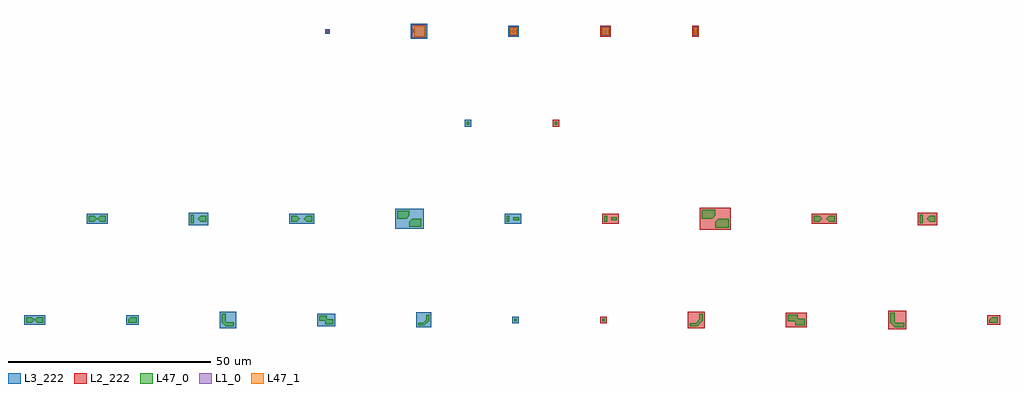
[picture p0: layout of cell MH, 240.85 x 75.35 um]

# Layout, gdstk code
from math import pi, radians
import gdstk
lib = gdstk.Library(unit=1e-6, precision=1e-09)
def R(c, l, rs):  # rectangles x0, y0, x1, y1
    for r in rs: c.add(gdstk.rectangle(r[:2], r[2:], *l))
def P(c, l, *ps):  # polygons
    for p in ps: c.add(gdstk.Polygon(p, *l))
L1_0 = (1, 0)
L2_222 = (2, 222)
L3_222 = (3, 222)
L47_0 = (47, 0)
L47_1 = (47, 1)

compass_e7e8ed5b = lib.new_cell('compass_e7e8ed5b')
R(compass_e7e8ed5b, L47_0, [(-0.35,-0.35,0.35,0.35)])

rectangle_e7e8ed5b = lib.new_cell('rectangle_e7e8ed5b')
rectangle_e7e8ed5b.add(gdstk.Reference(compass_e7e8ed5b, (0.35,0.35)))

width_basic_width0_7_lay = lib.new_cell('width_basic_width0.7_layer_(47, 0)')
width_basic_width0_7_lay.add(gdstk.Reference(rectangle_e7e8ed5b, (0,0)))

compass_b2efa8bb = lib.new_cell('compass_b2efa8bb')
R(compass_b2efa8bb, L2_222, [(-0.85,-0.85,0.85,0.85)])

rectangle_b2efa8bb = lib.new_cell('rectangle_b2efa8bb')
rectangle_b2efa8bb.add(gdstk.Reference(compass_b2efa8bb, (0.85,0.85)))

pass_fail_mk_78ab3b2c = lib.new_cell('pass_fail_mk_78ab3b2c')
pass_fail_mk_78ab3b2c.add(gdstk.Reference(rectangle_b2efa8bb, (-0.5,-0.5)))
pass_fail_mk_78ab3b2c.add(gdstk.Label('MH.W.1', (-0.25,-0.25), layer=11, texttype=222))

compass_66cd6138 = lib.new_cell('compass_66cd6138')
R(compass_66cd6138, L47_0, [(-0.345,-0.345,0.345,0.345)])

rectangle_66cd6138 = lib.new_cell('rectangle_66cd6138')
rectangle_66cd6138.add(gdstk.Reference(compass_66cd6138, (0.345,0.345)))

width_basic_width0_69_la = lib.new_cell('width_basic_width0.69_layer_(47, 0)')
width_basic_width0_69_la.add(gdstk.Reference(rectangle_66cd6138, (0,0)))

compass_bd24d7c0 = lib.new_cell('compass_bd24d7c0')
R(compass_bd24d7c0, L3_222, [(-0.845,-0.845,0.845,0.845)])

rectangle_bd24d7c0 = lib.new_cell('rectangle_bd24d7c0')
rectangle_bd24d7c0.add(gdstk.Reference(compass_bd24d7c0, (0.845,0.845)))

pass_fail_mk_fe1c7ca9 = lib.new_cell('pass_fail_mk_fe1c7ca9')
pass_fail_mk_fe1c7ca9.add(gdstk.Reference(rectangle_bd24d7c0, (-0.5,-0.5)))
pass_fail_mk_fe1c7ca9.add(gdstk.Label('MH.W.1', (-0.25,-0.25), layer=11, texttype=222))

extrude_4c802b8c = lib.new_cell('extrude_4c802b8c')
P(extrude_4c802b8c, L47_0, [(0,-0.4),(1.766,-0.4),(3.131,0.966),(3.131,2.731),(2.331,2.731),(2.331,1.297),(1.434,0.4),(0,0.4)])

width_45deg_width0_79999 = lib.new_cell('width_45deg_width0.7999999999999999_layer_(47, 0)')
width_45deg_width0_79999.add(gdstk.Reference(extrude_4c802b8c, (0,0)))

compass_1ed4120b = lib.new_cell('compass_1ed4120b')
R(compass_1ed4120b, L2_222, [(-2.066,-2.066,2.066,2.066)])

rectangle_1ed4120b = lib.new_cell('rectangle_1ed4120b')
rectangle_1ed4120b.add(gdstk.Reference(compass_1ed4120b, (2.066,2.066)))

pass_fail_mk_1852c275 = lib.new_cell('pass_fail_mk_1852c275')
pass_fail_mk_1852c275.add(gdstk.Reference(rectangle_1ed4120b, (-0.5,-0.9)))
pass_fail_mk_1852c275.add(gdstk.Label('MH.W.1', (-0.25,-0.65), layer=11, texttype=222))

extrude_66ef6cff = lib.new_cell('extrude_66ef6cff')
P(extrude_66ef6cff, L47_0, [(0,-0.345),(1.523,-0.345),(2.701,0.833),(2.701,2.356),(2.011,2.356),(2.011,1.119),(1.237,0.345),(0,0.345)])

width_45deg_width0_69_la = lib.new_cell('width_45deg_width0.69_layer_(47, 0)')
width_45deg_width0_69_la.add(gdstk.Reference(extrude_66ef6cff, (0,0)))

compass_3f52df3e = lib.new_cell('compass_3f52df3e')
R(compass_3f52df3e, L3_222, [(-1.85,-1.85,1.85,1.85)])

rectangle_3f52df3e = lib.new_cell('rectangle_3f52df3e')
rectangle_3f52df3e.add(gdstk.Reference(compass_3f52df3e, (1.85,1.85)))

pass_fail_mk_641ccce3 = lib.new_cell('pass_fail_mk_641ccce3')
pass_fail_mk_641ccce3.add(gdstk.Reference(rectangle_3f52df3e, (-0.5,-0.845)))
pass_fail_mk_641ccce3.add(gdstk.Label('MH.W.1', (-0.25,-0.595), layer=11, texttype=222))

boolean_34b1b25e = lib.new_cell('boolean_34b1b25e')
P(boolean_34b1b25e, L47_0, [(2.4,1.6),(0.566,1.6),(0.566,2.634),(-1.834,2.634),(-1.834,1.034),(0,1.034),(0,0),(2.4,0)])

width_cor2cor_width0_799 = lib.new_cell('width_cor2cor_width0.7999999999999999_layer_(47, 0)')
width_cor2cor_width0_799.add(gdstk.Reference(boolean_34b1b25e, (0,0)))

compass_9fc2ad70 = lib.new_cell('compass_9fc2ad70')
R(compass_9fc2ad70, L2_222, [(-2.617,-1.817,2.617,1.817)])

rectangle_9fc2ad70 = lib.new_cell('rectangle_9fc2ad70')
rectangle_9fc2ad70.add(gdstk.Reference(compass_9fc2ad70, (2.617,1.817)))

pass_fail_mk_bcb44846 = lib.new_cell('pass_fail_mk_bcb44846')
pass_fail_mk_bcb44846.add(gdstk.Reference(rectangle_9fc2ad70, (-2.334,-0.5)))
pass_fail_mk_bcb44846.add(gdstk.Label('MH.W.1', (-2.084,-0.25), layer=11, texttype=222))

boolean_0be09825 = lib.new_cell('boolean_0be09825')
P(boolean_0be09825, L47_0, [(1.95,1.3),(0.46,1.3),(0.46,2.14),(-1.49,2.14),(-1.49,0.84),(0,0.84),(0,0),(1.95,0)])

width_cor2cor_width0_649 = lib.new_cell('width_cor2cor_width0.6499999999999999_layer_(47, 0)')
width_cor2cor_width0_649.add(gdstk.Reference(boolean_0be09825, (0,0)))

compass_126cb765 = lib.new_cell('compass_126cb765')
R(compass_126cb765, L3_222, [(-2.22,-1.57,2.22,1.57)])

rectangle_126cb765 = lib.new_cell('rectangle_126cb765')
rectangle_126cb765.add(gdstk.Reference(compass_126cb765, (2.22,1.57)))

pass_fail_mk_10fbac7f = lib.new_cell('pass_fail_mk_10fbac7f')
pass_fail_mk_10fbac7f.add(gdstk.Reference(rectangle_126cb765, (-1.99,-0.5)))
pass_fail_mk_10fbac7f.add(gdstk.Label('MH.W.1', (-1.74,-0.25), layer=11, texttype=222))

boolean_d16e7d30 = lib.new_cell('boolean_d16e7d30')
P(boolean_d16e7d30, L47_0, [(-1.134,2.4),(-1.134,-0.006),(-0.006,-1.134),(0,-1.134),(0,-1.134),(2.4,-1.134),(2.4,0),(0,0),(0,2.4)])

width_cor_45deg_width0_7 = lib.new_cell('width_cor_45deg_width0.7999999999999999_layer_(47, 0)')
width_cor_45deg_width0_7.add(gdstk.Reference(boolean_d16e7d30, (0,0)))

compass_bea97816 = lib.new_cell('compass_bea97816')
R(compass_bea97816, L2_222, [(-2.267,-2.267,2.267,2.267)])

rectangle_bea97816 = lib.new_cell('rectangle_bea97816')
rectangle_bea97816.add(gdstk.Reference(compass_bea97816, (2.267,2.267)))

pass_fail_mk_69f7ed98 = lib.new_cell('pass_fail_mk_69f7ed98')
pass_fail_mk_69f7ed98.add(gdstk.Reference(rectangle_bea97816, (-1.634,-1.634)))
pass_fail_mk_69f7ed98.add(gdstk.Label('MH.W.1', (-1.384,-1.384), layer=11, texttype=222))

boolean_ff7a2a21 = lib.new_cell('boolean_ff7a2a21')
P(boolean_ff7a2a21, L47_0, [(-0.978,2.07),(-0.978,-0.005),(-0.005,-0.978),(0,-0.978),(0,-0.978),(2.07,-0.978),(2.07,0),(0,0),(0,2.07)])

width_cor_45deg_width0_6 = lib.new_cell('width_cor_45deg_width0.69_layer_(47, 0)')
width_cor_45deg_width0_6.add(gdstk.Reference(boolean_ff7a2a21, (0,0)))

compass_9e5b9a49 = lib.new_cell('compass_9e5b9a49')
R(compass_9e5b9a49, L3_222, [(-2.024,-2.024,2.024,2.024)])

rectangle_9e5b9a49 = lib.new_cell('rectangle_9e5b9a49')
rectangle_9e5b9a49.add(gdstk.Reference(compass_9e5b9a49, (2.024,2.024)))

pass_fail_mk_2f2a5389 = lib.new_cell('pass_fail_mk_2f2a5389')
pass_fail_mk_2f2a5389.add(gdstk.Reference(rectangle_9e5b9a49, (-1.478,-1.478)))
pass_fail_mk_2f2a5389.add(gdstk.Label('MH.W.1', (-1.228,-1.228), layer=11, texttype=222))

boolean_e318aad0 = lib.new_cell('boolean_e318aad0')
P(boolean_e318aad0, L47_0, [(2.1,1.4),(0.7,1.4),(0,0.7),(0,0),(2.1,0)])

c_width_cor_45deg_width0_7 = lib.new_cell('width_cor_45deg_width0.7_layer_(47, 0)')
c_width_cor_45deg_width0_7.add(gdstk.Reference(boolean_e318aad0, (0,0)))

compass_7dffb85c = lib.new_cell('compass_7dffb85c')
R(compass_7dffb85c, L2_222, [(-1.55,-1.2,1.55,1.2)])

rectangle_7dffb85c = lib.new_cell('rectangle_7dffb85c')
rectangle_7dffb85c.add(gdstk.Reference(compass_7dffb85c, (1.55,1.2)))

pass_fail_mk_f526e9c0 = lib.new_cell('pass_fail_mk_f526e9c0')
pass_fail_mk_f526e9c0.add(gdstk.Reference(rectangle_7dffb85c, (-0.5,-0.5)))
pass_fail_mk_f526e9c0.add(gdstk.Label('MH.W.1', (-0.25,-0.25), layer=11, texttype=222))

boolean_3da589a0 = lib.new_cell('boolean_3da589a0')
P(boolean_3da589a0, L47_0, [(2.07,1.38),(0.69,1.38),(0,0.69),(0,0),(2.07,0)])

c_width_cor_45deg_width0_6 = lib.new_cell('width_cor_45deg_width0.69_layer_(47, 0)$1')
c_width_cor_45deg_width0_6.add(gdstk.Reference(boolean_3da589a0, (0,0)))

compass_295faa97 = lib.new_cell('compass_295faa97')
R(compass_295faa97, L3_222, [(-1.535,-1.19,1.535,1.19)])

rectangle_295faa97 = lib.new_cell('rectangle_295faa97')
rectangle_295faa97.add(gdstk.Reference(compass_295faa97, (1.535,1.19)))

pass_fail_mk_c0e38e36 = lib.new_cell('pass_fail_mk_c0e38e36')
pass_fail_mk_c0e38e36.add(gdstk.Reference(rectangle_295faa97, (-0.5,-0.5)))
pass_fail_mk_c0e38e36.add(gdstk.Label('MH.W.1', (-0.25,-0.25), layer=11, texttype=222))

boolean_dfda7479 = lib.new_cell('boolean_dfda7479')
P(boolean_dfda7479, L47_0, [(0,0),(1.4,0),(1.4,1.4),(0,1.4),(-0.7,0.7)])

width_singular_width0_7_ = lib.new_cell('width_singular_width0.7_layer_(47, 0)')
width_singular_width0_7_.add(gdstk.Reference(boolean_dfda7479, (0,0)))
width_singular_width0_7_.add(gdstk.Reference(boolean_dfda7479, (-1.4,1.4), rotation=pi))

compass_ae880962 = lib.new_cell('compass_ae880962')
R(compass_ae880962, L3_222, [(-2.6,-1.2,2.6,1.2)])

rectangle_ae880962 = lib.new_cell('rectangle_ae880962')
rectangle_ae880962.add(gdstk.Reference(compass_ae880962, (2.6,1.2)))

pass_fail_mk_40ec0625 = lib.new_cell('pass_fail_mk_40ec0625')
pass_fail_mk_40ec0625.add(gdstk.Reference(rectangle_ae880962, (-3.3,-0.5)))
pass_fail_mk_40ec0625.add(gdstk.Label('MH.W.1', (-3.05,-0.25), layer=11, texttype=222))

width_patterns_width0_7_ = lib.new_cell('width_patterns_width0.7_layer(47, 0)')
width_patterns_width0_7_.add(gdstk.Reference(width_basic_width0_7_lay, (0,0)))
width_patterns_width0_7_.add(gdstk.Reference(pass_fail_mk_78ab3b2c, (0,0)))
width_patterns_width0_7_.add(gdstk.Reference(width_basic_width0_69_la, (-21.69,0.005)))
width_patterns_width0_7_.add(gdstk.Reference(pass_fail_mk_fe1c7ca9, (-21.69,0.005)))
width_patterns_width0_7_.add(gdstk.Reference(width_45deg_width0_79999, (21.7,-0.816)))
width_patterns_width0_7_.add(gdstk.Reference(pass_fail_mk_1852c275, (21.7,-0.816)))
width_patterns_width0_7_.add(gdstk.Reference(width_45deg_width0_69_la, (-45.39,-0.655)))
width_patterns_width0_7_.add(gdstk.Reference(pass_fail_mk_641ccce3, (-45.39,-0.655)))
width_patterns_width0_7_.add(gdstk.Reference(width_cor2cor_width0_799, (47.666,-0.967)))
width_patterns_width0_7_.add(gdstk.Reference(pass_fail_mk_bcb44846, (47.666,-0.967)))
width_patterns_width0_7_.add(gdstk.Reference(width_cor2cor_width0_649, (-68.34,-0.72)))
width_patterns_width0_7_.add(gdstk.Reference(pass_fail_mk_10fbac7f, (-68.34,-0.72)))
width_patterns_width0_7_.add(gdstk.Reference(width_cor_45deg_width0_7, (72.2,-0.284)))
width_patterns_width0_7_.add(gdstk.Reference(pass_fail_mk_69f7ed98, (72.2,-0.284)))
width_patterns_width0_7_.add(gdstk.Reference(width_cor_45deg_width0_6, (-92.9,-0.196)))
width_patterns_width0_7_.add(gdstk.Reference(pass_fail_mk_2f2a5389, (-92.9,-0.196)))
width_patterns_width0_7_.add(gdstk.Reference(c_width_cor_45deg_width0_7, (95.6,-0.351)))
width_patterns_width0_7_.add(gdstk.Reference(pass_fail_mk_f526e9c0, (95.6,-0.351)))
width_patterns_width0_7_.add(gdstk.Reference(c_width_cor_45deg_width0_6, (-116.948,-0.34)))
width_patterns_width0_7_.add(gdstk.Reference(pass_fail_mk_c0e38e36, (-116.948,-0.34)))
width_patterns_width0_7_.add(gdstk.Reference(width_singular_width0_7_, (-139.348,-0.35)))
width_patterns_width0_7_.add(gdstk.Reference(pass_fail_mk_40ec0625, (-139.348,-0.35)))

compass_6f4c7a30 = lib.new_cell('compass_6f4c7a30')
R(compass_6f4c7a30, L47_0, [(-0.35,-0.7,0.35,0.7)])

rectangle_6f4c7a30 = lib.new_cell('rectangle_6f4c7a30')
rectangle_6f4c7a30.add(gdstk.Reference(compass_6f4c7a30, (0.35,0.7)))

compass_fc141fd9 = lib.new_cell('compass_fc141fd9')
R(compass_fc141fd9, L47_0, [(-0.7,-0.35,0.7,0.35)])

rectangle_fc141fd9 = lib.new_cell('rectangle_fc141fd9')
rectangle_fc141fd9.add(gdstk.Reference(compass_fc141fd9, (0.7,0.35)))

space_basic_spacing1_0_l = lib.new_cell('space_basic_spacing1.0_layer1(47, 0)_layer2(47, 0)')
space_basic_spacing1_0_l.add(gdstk.Reference(rectangle_6f4c7a30, (-1,1.05), rotation=pi))
space_basic_spacing1_0_l.add(gdstk.Reference(rectangle_fc141fd9, (0,0)))

compass_7b9b11c6 = lib.new_cell('compass_7b9b11c6')
R(compass_7b9b11c6, L2_222, [(-2.05,-1.2,2.05,1.2)])

rectangle_7b9b11c6 = lib.new_cell('rectangle_7b9b11c6')
rectangle_7b9b11c6.add(gdstk.Reference(compass_7b9b11c6, (2.05,1.2)))

pass_fail_mk_7275f4ca = lib.new_cell('pass_fail_mk_7275f4ca')
pass_fail_mk_7275f4ca.add(gdstk.Reference(rectangle_7b9b11c6, (-2.2,-0.85)))
pass_fail_mk_7275f4ca.add(gdstk.Label('MH.S.1', (-1.95,-0.6), layer=11, texttype=222))

space_basic_spacing0_99_ = lib.new_cell('space_basic_spacing0.99_layer1(47, 0)_layer2(47, 0)')
space_basic_spacing0_99_.add(gdstk.Reference(rectangle_6f4c7a30, (-0.99,1.05), rotation=pi))
space_basic_spacing0_99_.add(gdstk.Reference(rectangle_fc141fd9, (0,0)))

compass_e147ee73 = lib.new_cell('compass_e147ee73')
R(compass_e147ee73, L3_222, [(-2.045,-1.2,2.045,1.2)])

rectangle_e147ee73 = lib.new_cell('rectangle_e147ee73')
rectangle_e147ee73.add(gdstk.Reference(compass_e147ee73, (2.045,1.2)))

pass_fail_mk_7f93100f = lib.new_cell('pass_fail_mk_7f93100f')
pass_fail_mk_7f93100f.add(gdstk.Reference(rectangle_e147ee73, (-2.19,-0.85)))
pass_fail_mk_7f93100f.add(gdstk.Label('MH.S.1', (-1.94,-0.6), layer=11, texttype=222))

boolean_bea0f6fe = lib.new_cell('boolean_bea0f6fe')
P(boolean_bea0f6fe, L47_0, [(3.3,2.2),(0.78,2.2),(0,1.42),(0,0),(3.3,0)])

space_45deg_spacing1_1_l = lib.new_cell('space_45deg_spacing1.1_layer1(47, 0)_layer2(47, 0)')
space_45deg_spacing1_1_l.add(gdstk.Reference(boolean_bea0f6fe, (0,0)))
space_45deg_spacing1_1_l.add(gdstk.Reference(boolean_bea0f6fe, (0,4.4), rotation=pi))

compass_da7978cf = lib.new_cell('compass_da7978cf')
R(compass_da7978cf, L2_222, [(-3.8,-2.7,3.8,2.7)])

rectangle_da7978cf = lib.new_cell('rectangle_da7978cf')
rectangle_da7978cf.add(gdstk.Reference(compass_da7978cf, (3.8,2.7)))

pass_fail_mk_5a705a40 = lib.new_cell('pass_fail_mk_5a705a40')
pass_fail_mk_5a705a40.add(gdstk.Reference(rectangle_da7978cf, (-3.8,-0.5)))
pass_fail_mk_5a705a40.add(gdstk.Label('MH.S.1', (-3.55,-0.25), layer=11, texttype=222))

boolean_90c38d66 = lib.new_cell('boolean_90c38d66')
P(boolean_90c38d66, L47_0, [(2.97,1.98),(0.702,1.98),(0,1.278),(0,0),(2.97,0)])

space_45deg_spacing0_99_ = lib.new_cell('space_45deg_spacing0.99_layer1(47, 0)_layer2(47, 0)')
space_45deg_spacing0_99_.add(gdstk.Reference(boolean_90c38d66, (0,0)))
space_45deg_spacing0_99_.add(gdstk.Reference(boolean_90c38d66, (0,3.96), rotation=pi))

compass_10041c26 = lib.new_cell('compass_10041c26')
R(compass_10041c26, L3_222, [(-3.47,-2.48,3.47,2.48)])

rectangle_10041c26 = lib.new_cell('rectangle_10041c26')
rectangle_10041c26.add(gdstk.Reference(compass_10041c26, (3.47,2.48)))

pass_fail_mk_fa8249b7 = lib.new_cell('pass_fail_mk_fa8249b7')
pass_fail_mk_fa8249b7.add(gdstk.Reference(rectangle_10041c26, (-3.47,-0.5)))
pass_fail_mk_fa8249b7.add(gdstk.Label('MH.S.1', (-3.22,-0.25), layer=11, texttype=222))

boolean_c798fc84 = lib.new_cell('boolean_c798fc84')
P(boolean_c798fc84, L47_0, [(1.4,1.4),(0,1.4),(-0.7,0.7),(0,0),(1.4,0)])

space_cor2cor_spacing1_0 = lib.new_cell('space_cor2cor_spacing1.0_layer1(47, 0)_layer2(47, 0)')
space_cor2cor_spacing1_0.add(gdstk.Reference(boolean_dfda7479, (0,0)))
space_cor2cor_spacing1_0.add(gdstk.Reference(boolean_c798fc84, (-2.4,1.4), rotation=pi))

compass_69904f04 = lib.new_cell('compass_69904f04')
R(compass_69904f04, L2_222, [(-3.1,-1.2,3.1,1.2)])

rectangle_69904f04 = lib.new_cell('rectangle_69904f04')
rectangle_69904f04.add(gdstk.Reference(compass_69904f04, (3.1,1.2)))

pass_fail_mk_7cd628bd = lib.new_cell('pass_fail_mk_7cd628bd')
pass_fail_mk_7cd628bd.add(gdstk.Reference(rectangle_69904f04, (-4.3,-0.5)))
pass_fail_mk_7cd628bd.add(gdstk.Label('MH.S.1', (-4.05,-0.25), layer=11, texttype=222))

space_cor2cor_spacing0_9 = lib.new_cell('space_cor2cor_spacing0.99_layer1(47, 0)_layer2(47, 0)')
space_cor2cor_spacing0_9.add(gdstk.Reference(boolean_dfda7479, (0,0)))
space_cor2cor_spacing0_9.add(gdstk.Reference(boolean_c798fc84, (-2.39,1.4), rotation=pi))

compass_cdb13e82 = lib.new_cell('compass_cdb13e82')
R(compass_cdb13e82, L3_222, [(-3.095,-1.2,3.095,1.2)])

rectangle_cdb13e82 = lib.new_cell('rectangle_cdb13e82')
rectangle_cdb13e82.add(gdstk.Reference(compass_cdb13e82, (3.095,1.2)))

pass_fail_mk_efef2220 = lib.new_cell('pass_fail_mk_efef2220')
pass_fail_mk_efef2220.add(gdstk.Reference(rectangle_cdb13e82, (-4.29,-0.5)))
pass_fail_mk_efef2220.add(gdstk.Label('MH.S.1', (-4.04,-0.25), layer=11, texttype=222))

compass_dde51342 = lib.new_cell('compass_dde51342')
R(compass_dde51342, L47_0, [(-0.35,-1.05,0.35,1.05)])

rectangle_dde51342 = lib.new_cell('rectangle_dde51342')
rectangle_dde51342.add(gdstk.Reference(compass_dde51342, (0.35,1.05)))

space_cor2edge_spacing1_ = lib.new_cell('space_cor2edge_spacing1.0_layer1(47, 0)_layer2(47, 0)')
space_cor2edge_spacing1_.add(gdstk.Reference(rectangle_dde51342, (-2.4,-0.35)))
space_cor2edge_spacing1_.add(gdstk.Reference(boolean_dfda7479, (0,0)))

compass_06d5eadc = lib.new_cell('compass_06d5eadc')
R(compass_06d5eadc, L2_222, [(-2.4,-1.55,2.4,1.55)])

rectangle_06d5eadc = lib.new_cell('rectangle_06d5eadc')
rectangle_06d5eadc.add(gdstk.Reference(compass_06d5eadc, (2.4,1.55)))

pass_fail_mk_5e524f88 = lib.new_cell('pass_fail_mk_5e524f88')
pass_fail_mk_5e524f88.add(gdstk.Reference(rectangle_06d5eadc, (-2.9,-0.85)))
pass_fail_mk_5e524f88.add(gdstk.Label('MH.S.1', (-2.65,-0.6), layer=11, texttype=222))

space_cor2edge_spacing0_ = lib.new_cell('space_cor2edge_spacing0.99_layer1(47, 0)_layer2(47, 0)')
space_cor2edge_spacing0_.add(gdstk.Reference(rectangle_dde51342, (-2.39,-0.35)))
space_cor2edge_spacing0_.add(gdstk.Reference(boolean_dfda7479, (0,0)))

compass_5de46879 = lib.new_cell('compass_5de46879')
R(compass_5de46879, L3_222, [(-2.395,-1.55,2.395,1.55)])

rectangle_5de46879 = lib.new_cell('rectangle_5de46879')
rectangle_5de46879.add(gdstk.Reference(compass_5de46879, (2.395,1.55)))

pass_fail_mk_46129013 = lib.new_cell('pass_fail_mk_46129013')
pass_fail_mk_46129013.add(gdstk.Reference(rectangle_5de46879, (-2.89,-0.85)))
pass_fail_mk_46129013.add(gdstk.Label('MH.S.1', (-2.64,-0.6), layer=11, texttype=222))

space_singular_layer1_47 = lib.new_cell('space_singular_layer1(47, 0)_layer2(47, 0)')
space_singular_layer1_47.add(gdstk.Reference(boolean_dfda7479, (0,0)))
space_singular_layer1_47.add(gdstk.Reference(boolean_dfda7479, (-1.4,1.4), rotation=pi))

pass_fail_mk_0b4c0c5c = lib.new_cell('pass_fail_mk_0b4c0c5c')
pass_fail_mk_0b4c0c5c.add(gdstk.Reference(rectangle_ae880962, (-3.3,-0.5)))
pass_fail_mk_0b4c0c5c.add(gdstk.Label('MH.S.1', (-3.05,-0.25), layer=11, texttype=222))

space_patterns_width0_7_ = lib.new_cell('space_patterns_width0.7_layer1(47, 0)_layer2(47, 0)')
space_patterns_width0_7_.add(gdstk.Reference(space_basic_spacing1_0_l, (0,0)))
space_patterns_width0_7_.add(gdstk.Reference(pass_fail_mk_7275f4ca, (0,0)))
space_patterns_width0_7_.add(gdstk.Reference(space_basic_spacing0_99_, (-24.1,0)))
space_patterns_width0_7_.add(gdstk.Reference(pass_fail_mk_7f93100f, (-24.1,0)))
space_patterns_width0_7_.add(gdstk.Reference(space_45deg_spacing1_1_l, (25.7,-1.85)))
space_patterns_width0_7_.add(gdstk.Reference(pass_fail_mk_5a705a40, (25.7,-1.85)))
space_patterns_width0_7_.add(gdstk.Reference(space_45deg_spacing0_99_, (-49.76,-1.63)))
space_patterns_width0_7_.add(gdstk.Reference(pass_fail_mk_fa8249b7, (-49.76,-1.63)))
space_patterns_width0_7_.add(gdstk.Reference(space_cor2cor_spacing1_0, (53.8,-0.35)))
space_patterns_width0_7_.add(gdstk.Reference(pass_fail_mk_7cd628bd, (53.8,-0.35)))
space_patterns_width0_7_.add(gdstk.Reference(space_cor2cor_spacing0_9, (-75.13,-0.35)))
space_patterns_width0_7_.add(gdstk.Reference(pass_fail_mk_efef2220, (-75.13,-0.35)))
space_patterns_width0_7_.add(gdstk.Reference(space_cor2edge_spacing1_, (78.6,-0.35)))
space_patterns_width0_7_.add(gdstk.Reference(pass_fail_mk_5e524f88, (78.6,-0.35)))
space_patterns_width0_7_.add(gdstk.Reference(space_cor2edge_spacing0_, (-101.32,-0.35)))
space_patterns_width0_7_.add(gdstk.Reference(pass_fail_mk_46129013, (-101.32,-0.35)))
space_patterns_width0_7_.add(gdstk.Reference(space_singular_layer1_47, (-126.11,-0.35)))
space_patterns_width0_7_.add(gdstk.Reference(pass_fail_mk_0b4c0c5c, (-126.11,-0.35)))

compass_bf1a6804 = lib.new_cell('compass_bf1a6804')
R(compass_bf1a6804, L47_0, [(-0.357,-0.357,0.357,0.357)])

rectangle_bf1a6804 = lib.new_cell('rectangle_bf1a6804')
rectangle_bf1a6804.add(gdstk.Reference(compass_bf1a6804, (0.357,0.357)))

area_basic_area0_51_laye = lib.new_cell('area_basic_area0.51_layer(47, 0)')
area_basic_area0_51_laye.add(gdstk.Reference(rectangle_bf1a6804, (0,0)))

compass_46618510 = lib.new_cell('compass_46618510')
R(compass_46618510, L2_222, [(-0.857,-0.857,0.857,0.857)])

rectangle_46618510 = lib.new_cell('rectangle_46618510')
rectangle_46618510.add(gdstk.Reference(compass_46618510, (0.857,0.857)))

pass_fail_mk_2b3323b5 = lib.new_cell('pass_fail_mk_2b3323b5')
pass_fail_mk_2b3323b5.add(gdstk.Reference(rectangle_46618510, (-0.5,-0.5)))
pass_fail_mk_2b3323b5.add(gdstk.Label('MH.A.1', (-0.25,-0.25), layer=11, texttype=222))

compass_435e12d5 = lib.new_cell('compass_435e12d5')
R(compass_435e12d5, L47_0, [(-0.353,-0.353,0.353,0.353)])

rectangle_435e12d5 = lib.new_cell('rectangle_435e12d5')
rectangle_435e12d5.add(gdstk.Reference(compass_435e12d5, (0.353,0.353)))

area_basic_area0_499_lay = lib.new_cell('area_basic_area0.499_layer(47, 0)')
area_basic_area0_499_lay.add(gdstk.Reference(rectangle_435e12d5, (0,0)))

compass_8a9f9f64 = lib.new_cell('compass_8a9f9f64')
R(compass_8a9f9f64, L3_222, [(-0.853,-0.853,0.853,0.853)])

rectangle_8a9f9f64 = lib.new_cell('rectangle_8a9f9f64')
rectangle_8a9f9f64.add(gdstk.Reference(compass_8a9f9f64, (0.853,0.853)))

pass_fail_mk_3f62ff23 = lib.new_cell('pass_fail_mk_3f62ff23')
pass_fail_mk_3f62ff23.add(gdstk.Reference(rectangle_8a9f9f64, (-0.5,-0.5)))
pass_fail_mk_3f62ff23.add(gdstk.Label('MH.A.1', (-0.25,-0.25), layer=11, texttype=222))

area_patterns_area0_5_la = lib.new_cell('area_patterns_area0.5_layer(47, 0)')
area_patterns_area0_5_la.add(gdstk.Reference(area_basic_area0_51_laye, (0,0)))
area_patterns_area0_5_la.add(gdstk.Reference(pass_fail_mk_2b3323b5, (0,0)))
area_patterns_area0_5_la.add(gdstk.Reference(area_basic_area0_499_lay, (-21.706,0.004)))
area_patterns_area0_5_la.add(gdstk.Reference(pass_fail_mk_3f62ff23, (-21.706,0.004)))

compass_d1b7377b = lib.new_cell('compass_d1b7377b')
R(compass_d1b7377b, L47_1, [(-0.85,-0.85,0.85,0.85)])

rectangle_d1b7377b = lib.new_cell('rectangle_d1b7377b')
rectangle_d1b7377b.add(gdstk.Reference(compass_d1b7377b, (0.85,0.85)))

enclose_basic_enc0_5_wid = lib.new_cell('enclose_basic_enc0.5_width0.7_layer_(47, 0)_enc_layer(47, 1)')
enclose_basic_enc0_5_wid.add(gdstk.Reference(rectangle_e7e8ed5b, (0,0)))
enclose_basic_enc0_5_wid.add(gdstk.Reference(rectangle_d1b7377b, (-0.5,-0.5)))

compass_5759a794 = lib.new_cell('compass_5759a794')
R(compass_5759a794, L2_222, [(-1.35,-1.35,1.35,1.35)])

rectangle_5759a794 = lib.new_cell('rectangle_5759a794')
rectangle_5759a794.add(gdstk.Reference(compass_5759a794, (1.35,1.35)))

pass_fail_mk_98d3297b = lib.new_cell('pass_fail_mk_98d3297b')
pass_fail_mk_98d3297b.add(gdstk.Reference(rectangle_5759a794, (-1,-1)))
pass_fail_mk_98d3297b.add(gdstk.Label('MH.EN.1', (-0.75,-0.75), layer=11, texttype=222))

compass_size2p2__2p2 = lib.new_cell('compass_size2p2__2p2')
R(compass_size2p2__2p2, L1_0, [(-1.1,-1.1,1.1,1.1)])

rectangle_size2p2__2p2 = lib.new_cell('rectangle_size2p2__2p2')
rectangle_size2p2__2p2.add(gdstk.Reference(compass_size2p2__2p2, (1.1,1.1)))

boolean_bd5d1399 = lib.new_cell('boolean_bd5d1399')
P(boolean_bd5d1399, L47_1, [(1.2,1.2),(-0.5,1.2),(-0.5,0.088),(0.088,0.088),(0.088,0.612),(0.612,0.612),(0.612,0.088),(0.088,0.088),(-0.5,0.088),(-0.5,-0.5),(1.2,-0.5)])

inside_hole_enc0_5_width = lib.new_cell('inside_hole_enc0.5_width0.7_layer_(47, 0)_enc_layer(47, 1)')
inside_hole_enc0_5_width.add(gdstk.Reference(rectangle_e7e8ed5b, (0,0)))
inside_hole_enc0_5_width.add(gdstk.Reference(boolean_bd5d1399, (0,0)))

compass_12314c56 = lib.new_cell('compass_12314c56')
R(compass_12314c56, L3_222, [(-1.35,-1.35,1.35,1.35)])

rectangle_12314c56 = lib.new_cell('rectangle_12314c56')
rectangle_12314c56.add(gdstk.Reference(compass_12314c56, (1.35,1.35)))

pass_fail_mk_76867218 = lib.new_cell('pass_fail_mk_76867218')
pass_fail_mk_76867218.add(gdstk.Reference(rectangle_12314c56, (-1,-1)))
pass_fail_mk_76867218.add(gdstk.Label('MH.EN.1', (-0.75,-0.75), layer=11, texttype=222))

compass_b5baeda3 = lib.new_cell('compass_b5baeda3')
R(compass_b5baeda3, L47_1, [(-0.35,-0.85,0.35,0.85)])

rectangle_b5baeda3 = lib.new_cell('rectangle_b5baeda3')
rectangle_b5baeda3.add(gdstk.Reference(compass_b5baeda3, (0.35,0.85)))

inside_touch_enc0_5_widt = lib.new_cell('inside_touch_enc0.5_width0.7_layer_(47, 0)_enc_layer(47, 1)')
inside_touch_enc0_5_widt.add(gdstk.Reference(rectangle_e7e8ed5b, (0,0)))
inside_touch_enc0_5_widt.add(gdstk.Reference(rectangle_b5baeda3, (0,-0.5)))

compass_007211c1 = lib.new_cell('compass_007211c1')
R(compass_007211c1, L2_222, [(-0.85,-1.35,0.85,1.35)])

rectangle_007211c1 = lib.new_cell('rectangle_007211c1')
rectangle_007211c1.add(gdstk.Reference(compass_007211c1, (0.85,1.35)))

pass_fail_mk_762c10d3 = lib.new_cell('pass_fail_mk_762c10d3')
pass_fail_mk_762c10d3.add(gdstk.Reference(rectangle_007211c1, (-0.5,-1)))
pass_fail_mk_762c10d3.add(gdstk.Label('MH.EN.1', (-0.25,-0.75), layer=11, texttype=222))

compass_size1p2__2p2 = lib.new_cell('compass_size1p2__2p2')
R(compass_size1p2__2p2, L1_0, [(-0.6,-1.1,0.6,1.1)])

rectangle_size1p2__2p2 = lib.new_cell('rectangle_size1p2__2p2')
rectangle_size1p2__2p2.add(gdstk.Reference(compass_size1p2__2p2, (0.6,1.1)))

compass_e45c467e = lib.new_cell('compass_e45c467e')
R(compass_e45c467e, L47_1, [(-1.35,-1.35,1.35,1.35)])

rectangle_e45c467e = lib.new_cell('rectangle_e45c467e')
rectangle_e45c467e.add(gdstk.Reference(compass_e45c467e, (1.35,1.35)))

inside_intersect_enc1_0_ = lib.new_cell('inside_intersect_enc1.0_width0.7_layer_(47, 0)_enc_layer(47, 1)')
inside_intersect_enc1_0_.add(gdstk.Reference(rectangle_e7e8ed5b, (-1.35,0)))
inside_intersect_enc1_0_.add(gdstk.Reference(rectangle_e45c467e, (-1,-1)))

compass_421bc4f1 = lib.new_cell('compass_421bc4f1')
R(compass_421bc4f1, L3_222, [(-2.025,-1.85,2.025,1.85)])

rectangle_421bc4f1 = lib.new_cell('rectangle_421bc4f1')
rectangle_421bc4f1.add(gdstk.Reference(compass_421bc4f1, (2.025,1.85)))

pass_fail_mk_20e701f6 = lib.new_cell('pass_fail_mk_20e701f6')
pass_fail_mk_20e701f6.add(gdstk.Reference(rectangle_421bc4f1, (-1.85,-1.5)))
pass_fail_mk_20e701f6.add(gdstk.Label('MH.EN.1', (-1.6,-1.25), layer=11, texttype=222))

compass_size3p55__3p2 = lib.new_cell('compass_size3p55__3p2')
R(compass_size3p55__3p2, L1_0, [(-1.775,-1.6,1.775,1.6)])

rectangle_size3p55__3p2 = lib.new_cell('rectangle_size3p55__3p2')
rectangle_size3p55__3p2.add(gdstk.Reference(compass_size3p55__3p2, (1.775,1.6)))

compass_524f62e2 = lib.new_cell('compass_524f62e2')
R(compass_524f62e2, L47_0, [(-0.05,-0.05,0.05,0.05)])

rectangle_524f62e2 = lib.new_cell('rectangle_524f62e2')
rectangle_524f62e2.add(gdstk.Reference(compass_524f62e2, (0.05,0.05)))

inside_basic_width0_1_la = lib.new_cell('inside_basic_width0.1_layer_(47, 0)')
inside_basic_width0_1_la.add(gdstk.Reference(rectangle_524f62e2, (0,0)))

compass_e7c47494 = lib.new_cell('compass_e7c47494')
R(compass_e7c47494, L3_222, [(-0.55,-0.55,0.55,0.55)])

rectangle_e7c47494 = lib.new_cell('rectangle_e7c47494')
rectangle_e7c47494.add(gdstk.Reference(compass_e7c47494, (0.55,0.55)))

pass_fail_mk_d2902835 = lib.new_cell('pass_fail_mk_d2902835')
pass_fail_mk_d2902835.add(gdstk.Reference(rectangle_e7c47494, (-0.5,-0.5)))
pass_fail_mk_d2902835.add(gdstk.Label('MH.EN.1', (-0.25,-0.25), layer=11, texttype=222))

compass_size0p6__0p6 = lib.new_cell('compass_size0p6__0p6')
R(compass_size0p6__0p6, L1_0, [(-0.3,-0.3,0.3,0.3)])

rectangle_size0p6__0p6 = lib.new_cell('rectangle_size0p6__0p6')
rectangle_size0p6__0p6.add(gdstk.Reference(compass_size0p6__0p6, (0.3,0.3)))

unnamed_0cb3c530 = lib.new_cell('Unnamed_0cb3c530')
unnamed_0cb3c530.add(gdstk.Reference(enclose_basic_enc0_5_wid, (0,0)))
unnamed_0cb3c530.add(gdstk.Reference(pass_fail_mk_98d3297b, (0,0)))
unnamed_0cb3c530.add(gdstk.Reference(rectangle_size2p2__2p2, (-0.75,-0.75)))
unnamed_0cb3c530.add(gdstk.Reference(inside_hole_enc0_5_width, (-22.7,0)))
unnamed_0cb3c530.add(gdstk.Reference(pass_fail_mk_76867218, (-22.7,0)))
unnamed_0cb3c530.add(gdstk.Reference(rectangle_size2p2__2p2, (-23.45,-0.75)))
unnamed_0cb3c530.add(gdstk.Reference(inside_touch_enc0_5_widt, (22.2,0)))
unnamed_0cb3c530.add(gdstk.Reference(pass_fail_mk_762c10d3, (22.2,0)))
unnamed_0cb3c530.add(gdstk.Reference(rectangle_size1p2__2p2, (21.95,-0.75)))
unnamed_0cb3c530.add(gdstk.Reference(inside_intersect_enc1_0_, (-45.9,0)))
unnamed_0cb3c530.add(gdstk.Reference(pass_fail_mk_20e701f6, (-45.9,0)))
unnamed_0cb3c530.add(gdstk.Reference(rectangle_size3p55__3p2, (-47.5,-1.25)))
unnamed_0cb3c530.add(gdstk.Reference(inside_basic_width0_1_la, (-68.35,0.3)))
unnamed_0cb3c530.add(gdstk.Reference(pass_fail_mk_d2902835, (-68.35,0.3)))
unnamed_0cb3c530.add(gdstk.Reference(rectangle_size0p6__0p6, (-68.6,0.05)))

c_mh = lib.new_cell('MH')
c_mh.add(gdstk.Reference(width_patterns_width0_7_, (0,0)))
c_mh.add(gdstk.Reference(space_patterns_width0_7_, (2.231,24.966)))
c_mh.add(gdstk.Reference(area_patterns_area0_5_la, (-11.728,48.516)))
c_mh.add(gdstk.Reference(unnamed_0cb3c530, (0.501,71.23)))

lib.write_gds('MH.gds')
